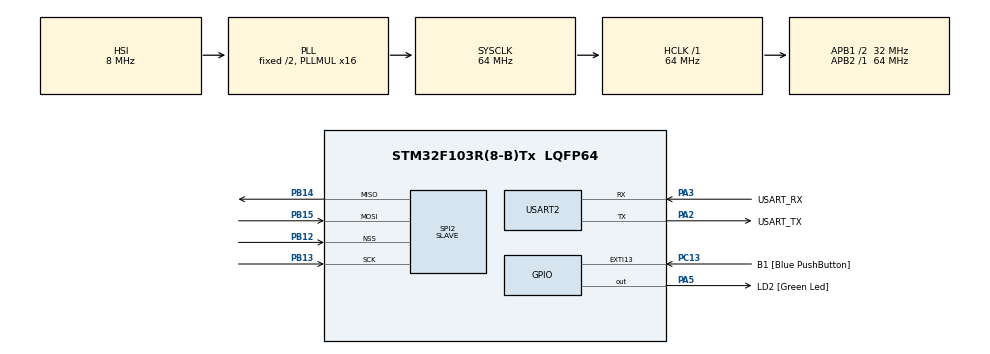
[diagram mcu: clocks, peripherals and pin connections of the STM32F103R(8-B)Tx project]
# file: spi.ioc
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Mcu.Family=STM32F1
Mcu.Name=STM32F103R(8-B)Tx
Mcu.Package=LQFP64
NVIC.EXTI15_10_IRQn=true\:0\:0\:false\:false\:true\:true\:true\:true
NVIC.PriorityGroup=NVIC_PRIORITYGROUP_4
PA13.GPIO_Label=TMS
PA13.Mode=Serial_Wire
PA13.Signal=SYS_JTMS-SWDIO
PA14.GPIO_Label=TCK
PA14.Mode=Serial_Wire
PA14.Signal=SYS_JTCK-SWCLK
PA2.GPIO_Label=USART_TX
PA2.GPIO_Mode=GPIO_MODE_AF_PP
PA2.GPIO_PuPd=GPIO_NOPULL
PA2.GPIO_Speed=GPIO_SPEED_FREQ_LOW
PA2.Mode=Asynchronous
PA2.Signal=USART2_TX
PA3.GPIO_Label=USART_RX
PA3.GPIO_Mode=GPIO_MODE_AF_PP
PA3.GPIO_PuPd=GPIO_NOPULL
PA3.GPIO_Speed=GPIO_SPEED_FREQ_LOW
PA3.Mode=Asynchronous
PA3.Signal=USART2_RX
PA5.GPIO_Label=LD2 [Green Led]
PA5.GPIO_ModeDefaultOutputPP=GPIO_MODE_OUTPUT_PP
PA5.GPIO_PuPd=GPIO_NOPULL
PA5.GPIO_Speed=GPIO_SPEED_FREQ_LOW
PA5.Signal=GPIO_Output
PB12.Mode=NSS_Signal_Hard_Input
PB12.Signal=SPI2_NSS
PB13.Mode=Full_Duplex_Slave
PB13.Signal=SPI2_SCK
PB14.Mode=Full_Duplex_Slave
PB14.Signal=SPI2_MISO
PB15.Mode=Full_Duplex_Slave
PB15.Signal=SPI2_MOSI
PB3.GPIO_Label=SWO
PB3.Signal=SYS_JTDO-TRACESWO
PC13-TAMPER-RTC.GPIO_Label=B1 [Blue PushButton]
PC13-TAMPER-RTC.GPIO_PuPd=GPIO_NOPULL
PC13-TAMPER-RTC.Signal=GPXTI13
PC14-OSC32_IN.Mode=LSE-External-Oscillator
PC14-OSC32_IN.Signal=RCC_OSC32_IN
PC15-OSC32_OUT.Mode=LSE-External-Oscillator
PC15-OSC32_OUT.Signal=RCC_OSC32_OUT
PD0-OSC_IN.Mode=HSE-External-Clock-Source
PD0-OSC_IN.Signal=RCC_OSC_IN
PD1-OSC_OUT.Mode=HSE-External-Clock-Source
PD1-OSC_OUT.Signal=RCC_OSC_OUT
ProjectManager.HeapSize=0x200
ProjectManager.StackSize=0x400
ProjectManager.TargetToolchain=STM32CubeIDE
RCC.AHBFreq_Value=64000000
RCC.APB1CLKDivider=RCC_HCLK_DIV2
RCC.APB1Freq_Value=32000000
RCC.APB1TimFreq_Value=64000000
RCC.APB2Freq_Value=64000000
RCC.APB2TimFreq_Value=64000000
RCC.HCLKFreq_Value=64000000
RCC.PLLMUL=RCC_PLL_MUL16
RCC.RTCClockSelection=RCC_RTCCLKSOURCE_LSE
RCC.SYSCLKFreq_VALUE=64000000
RCC.SYSCLKSource=RCC_SYSCLKSOURCE_PLLCLK
RCC.USBFreq_Value=64000000
SPI2.Direction=SPI_DIRECTION_2LINES
SPI2.Mode=SPI_MODE_SLAVE
SPI2.VirtualNSS=VM_NSSHARD
SPI2.VirtualType=VM_SLAVE
USART2.VirtualMode=VM_ASYNC
board=NUCLEO-F103RB

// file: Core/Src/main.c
/* USER CODE BEGIN Header */
/**
  ******************************************************************************
  * @file           : main.c
  * @brief          : Main program body
  ******************************************************************************
  * @attention
  *
  * Copyright (c) 2025 STMicroelectronics.
  * All rights reserved.
  *
  * This software is licensed under terms that can be found in the LICENSE file
  * in the root directory of this software component.
  * If no LICENSE file comes with this software, it is provided AS-IS.
  *
  ******************************************************************************
  */
/* USER CODE END Header */
#include "main.h"

/* USER CODE BEGIN Includes */
#include <stdio.h>
/* USER CODE END Includes */

/* USER CODE BEGIN PTD */
#define BUFFER_SIZE 6
/* USER CODE END PTD */

SPI_HandleTypeDef hspi2;

UART_HandleTypeDef huart2;

void SystemClock_Config(void);
static void MX_GPIO_Init(void);
static void MX_USART2_UART_Init(void);
static void MX_SPI2_Init(void);
/* USER CODE BEGIN PFP */
uint8_t tx[6] = {0xDE,0xAD,0xBE,0xEF,0x55,0xAA}; // 첫 프레임에 마스터로 보낼 패턴
uint8_t rx[6];
volatile int spitrick = 0;
/* USER CODE END PFP */

/* USER CODE BEGIN 0 */
int __io_putchar(int ch)
{
    HAL_UART_Transmit(&huart2, (uint8_t *)&ch, 1, HAL_MAX_DELAY);
    return ch;
}

static void compute_response(const uint8_t in[BUFFER_SIZE], uint8_t out[BUFFER_SIZE])
{
    for (int i=0; i<BUFFER_SIZE; i++) {
        uint8_t c = in[i];
        out[i] = (c >= 'a' && c <= 'z') ? (uint8_t)(c - 'a' + 'A') : c;
    }
    out[0] = 'O';
    out[1] = 'K';
}
/* USER CODE END 0 */

int main(void)
{

  /* MCU Configuration--------------------------------------------------------*/

  /* Reset of all peripherals, Initializes the Flash interface and the Systick. */
  HAL_Init();

  /* Configure the system clock */
  SystemClock_Config();

  /* Initialize all configured peripherals */
  MX_GPIO_Init();
  MX_USART2_UART_Init();
  MX_SPI2_Init();

  /* Infinite loop */
  while (1)
  {

    /* USER CODE BEGIN 3 */
	  if (HAL_SPI_TransmitReceive(&hspi2, tx, rx, BUFFER_SIZE, HAL_MAX_DELAY) == HAL_OK) {
		  /* 디버그 출력(선택): 방금 받은 요청을 UART로 보기 */
		  printf("RX: ");
		  for (int i=0; i<BUFFER_SIZE; i++) printf("%02X ", rx[i]);
		  printf(" | \"");
		  for (int i=0; i<BUFFER_SIZE; i++) putchar((rx[i]>=32 && rx[i]<=126) ? rx[i] : '.');
		  printf("\"\r\n");

		  /* 다음 프레임에 보낼 응답 만들기 */
		  compute_response(rx, tx);

		  /* 디버그 출력(선택): 다음 프레임에서 나갈 응답 미리 보기 */
		  printf("NEXT TX: ");
		  for (int i=0; i<BUFFER_SIZE; i++) printf("%02X ", tx[i]);
		  printf(" | \"");
		  for (int i=0; i<BUFFER_SIZE; i++) putchar((tx[i]>=32 && tx[i]<=126) ? tx[i] : '.');
		  printf("\"\r\n");
	  } else {
		  /* 에러 시, 다음 프레임은 에러 패턴 */
		  memcpy(tx, (const uint8_t *)"ERR!!!", BUFFER_SIZE);
	  }
  }
  /* USER CODE END 3 */
}

void SystemClock_Config(void)
{
  RCC_OscInitTypeDef RCC_OscInitStruct = {0};
  RCC_ClkInitTypeDef RCC_ClkInitStruct = {0};

  /** Initializes the RCC Oscillators according to the specified parameters
  * in the RCC_OscInitTypeDef structure.
  */
  RCC_OscInitStruct.OscillatorType = RCC_OSCILLATORTYPE_HSI;
  RCC_OscInitStruct.HSIState = RCC_HSI_ON;
  RCC_OscInitStruct.HSICalibrationValue = RCC_HSICALIBRATION_DEFAULT;
  RCC_OscInitStruct.PLL.PLLState = RCC_PLL_ON;
  RCC_OscInitStruct.PLL.PLLSource = RCC_PLLSOURCE_HSI_DIV2;
  RCC_OscInitStruct.PLL.PLLMUL = RCC_PLL_MUL16;
  if (HAL_RCC_OscConfig(&RCC_OscInitStruct) != HAL_OK)
  {
    Error_Handler();
  }

  /** Initializes the CPU, AHB and APB buses clocks
  */
  RCC_ClkInitStruct.ClockType = RCC_CLOCKTYPE_HCLK|RCC_CLOCKTYPE_SYSCLK
                              |RCC_CLOCKTYPE_PCLK1|RCC_CLOCKTYPE_PCLK2;
  RCC_ClkInitStruct.SYSCLKSource = RCC_SYSCLKSOURCE_PLLCLK;
  RCC_ClkInitStruct.AHBCLKDivider = RCC_SYSCLK_DIV1;
  RCC_ClkInitStruct.APB1CLKDivider = RCC_HCLK_DIV2;
  RCC_ClkInitStruct.APB2CLKDivider = RCC_HCLK_DIV1;

  if (HAL_RCC_ClockConfig(&RCC_ClkInitStruct, FLASH_LATENCY_2) != HAL_OK)
  {
    Error_Handler();
  }
}

static void MX_SPI2_Init(void)
{

  /* SPI2 parameter configuration*/
  hspi2.Instance = SPI2;
  hspi2.Init.Mode = SPI_MODE_SLAVE;
  hspi2.Init.Direction = SPI_DIRECTION_2LINES;
  hspi2.Init.DataSize = SPI_DATASIZE_8BIT;
  hspi2.Init.CLKPolarity = SPI_POLARITY_LOW;
  hspi2.Init.CLKPhase = SPI_PHASE_1EDGE;
  hspi2.Init.NSS = SPI_NSS_HARD_INPUT;
  hspi2.Init.FirstBit = SPI_FIRSTBIT_MSB;
  hspi2.Init.TIMode = SPI_TIMODE_DISABLE;
  hspi2.Init.CRCCalculation = SPI_CRCCALCULATION_DISABLE;
  hspi2.Init.CRCPolynomial = 10;
  if (HAL_SPI_Init(&hspi2) != HAL_OK)
  {
    Error_Handler();
  }

}

static void MX_USART2_UART_Init(void)
{

  huart2.Instance = USART2;
  huart2.Init.BaudRate = 115200;
  huart2.Init.WordLength = UART_WORDLENGTH_8B;
  huart2.Init.StopBits = UART_STOPBITS_1;
  huart2.Init.Parity = UART_PARITY_NONE;
  huart2.Init.Mode = UART_MODE_TX_RX;
  huart2.Init.HwFlowCtl = UART_HWCONTROL_NONE;
  huart2.Init.OverSampling = UART_OVERSAMPLING_16;
  if (HAL_UART_Init(&huart2) != HAL_OK)
  {
    Error_Handler();
  }

}

static void MX_GPIO_Init(void)
{
  GPIO_InitTypeDef GPIO_InitStruct = {0};

  /* GPIO Ports Clock Enable */
  __HAL_RCC_GPIOC_CLK_ENABLE();
  __HAL_RCC_GPIOD_CLK_ENABLE();
  __HAL_RCC_GPIOA_CLK_ENABLE();
  __HAL_RCC_GPIOB_CLK_ENABLE();

  /*Configure GPIO pin Output Level */
  HAL_GPIO_WritePin(LD2_GPIO_Port, LD2_Pin, GPIO_PIN_RESET);

  /*Configure GPIO pin : B1_Pin */
  GPIO_InitStruct.Pin = B1_Pin;
  GPIO_InitStruct.Mode = GPIO_MODE_IT_RISING;
  GPIO_InitStruct.Pull = GPIO_NOPULL;
  HAL_GPIO_Init(B1_GPIO_Port, &GPIO_InitStruct);

  /*Configure GPIO pin : LD2_Pin */
  GPIO_InitStruct.Pin = LD2_Pin;
  GPIO_InitStruct.Mode = GPIO_MODE_OUTPUT_PP;
  GPIO_InitStruct.Pull = GPIO_NOPULL;
  GPIO_InitStruct.Speed = GPIO_SPEED_FREQ_LOW;
  HAL_GPIO_Init(LD2_GPIO_Port, &GPIO_InitStruct);

  /* EXTI interrupt init*/
  HAL_NVIC_SetPriority(EXTI15_10_IRQn, 0, 0);
  HAL_NVIC_EnableIRQ(EXTI15_10_IRQn);

}

void Error_Handler(void)
{
  __disable_irq();
  while (1)
  {
  }
}
